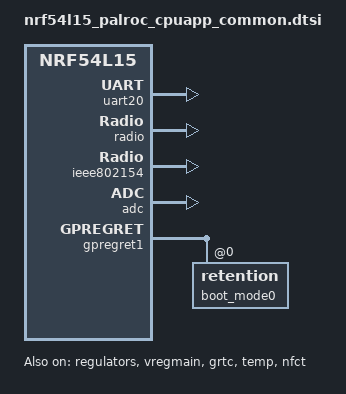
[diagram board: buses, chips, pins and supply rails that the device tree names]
/*
 * Copyright (c) 2024 Nordic Semiconductor ASA
 *
 * SPDX-License-Identifier: Apache-2.0
 */

#include "nrf54l15_palroc_common.dtsi"

/ {
	chosen {
		zephyr,console = &uart20;
		zephyr,shell-uart = &uart20;
		zephyr,uart-mcumgr = &uart20;
		zephyr,flash-controller = &rram_controller;
		zephyr,flash = &cpuapp_rram;
	};
};

&cpuapp_sram {
	status = "okay";
};

/* No 32.768 kHz crystal on XL1/XL2 on the palroc board.
 * Disable LFXO so the kernel doesn't hang waiting for it; GRTC will use
 * the internal LFRC (~250 ppm) instead. Revisit if precise timing matters.
 */
&lfxo {
	status = "disabled";
};

/* 32 MHz crystal: SMD2016-4P, CL = 8 pF.
 *
 * Note on the semantics of `load-capacitance-femtofarad`: on nRF54L this is
 * the per-pin internal load capacitor value, NOT the crystal's CL spec.
 * For a CL=Cx crystal with Cstray ≈ 1.5 pF, the math is:
 *   Cint_per_pin = 2 * (Cx - Cstray)
 * so for Cx = 8 pF → Cint ≈ 13 pF. We tune up slightly to 14 pF as a
 * starting point; the crystal+chip combo is forgiving of ±1 pF and BLE
 * is the empirical test (a phone scanner sees the beacon = HFXO is at
 * the right frequency).
 */
&hfxo {
	load-capacitors = "internal";
	load-capacitance-femtofarad = <14000>;
};

&regulators {
	status = "okay";
};

&vregmain {
	status = "okay";
	regulator-initial-mode = <NRF5X_REG_MODE_DCDC>;
};

&grtc {
	owned-channels = <0 1 2 3 4 5 6 7 8 9 10 11>;
	child-owned-channels = <7 8 9 10 11>;
	status = "okay";
};

&uart20 {
	status = "okay";
};

&gpio0 {
	status = "okay";
};

&gpio1 {
	status = "okay";
};

&gpio2 {
	status = "okay";
};

&gpiote20 {
	status = "okay";
};

&gpiote30 {
	status = "okay";
};

&clock {
	status = "okay";
};

&temp {
	status = "okay";
};

&radio {
	status = "okay";
};

&ieee802154 {
	status = "okay";
};

&nfct {
	status = "okay";
};

&adc {
	status = "okay";
};

&gpregret1 {
	status = "okay";

	boot_mode0: boot_mode@0 {
		compatible = "zephyr,retention";
		status = "okay";
		reg = <0x0 0x1>;
	};
};
